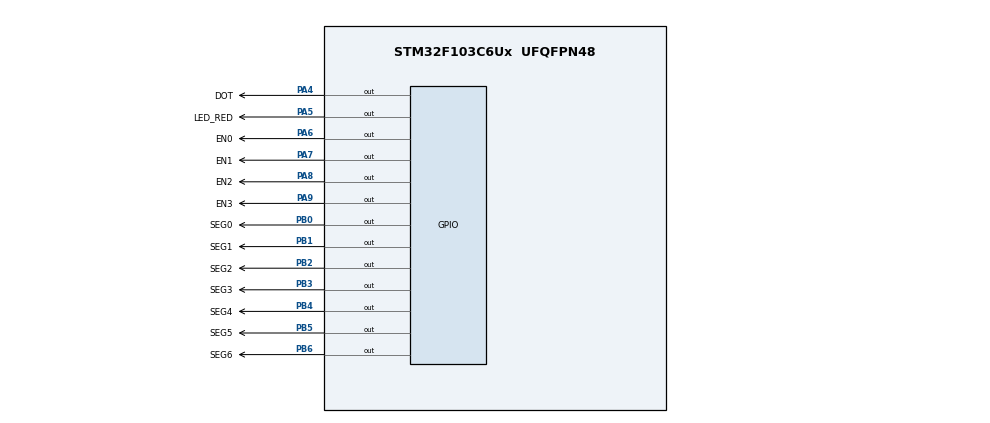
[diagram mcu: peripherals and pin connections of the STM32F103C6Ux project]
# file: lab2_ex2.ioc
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Mcu.Family=STM32F1
Mcu.Name=STM32F103C6Ux
Mcu.Package=UFQFPN48
NVIC.PriorityGroup=NVIC_PRIORITYGROUP_4
NVIC.TIM2_IRQn=true\:0\:0\:false\:false\:true\:true\:true
PA4.GPIO_Label=DOT
PA4.Signal=GPIO_Output
PA5.GPIO_Label=LED_RED
PA5.Signal=GPIO_Output
PA6.GPIO_Label=EN0
PA6.Signal=GPIO_Output
PA7.GPIO_Label=EN1
PA7.Signal=GPIO_Output
PA8.GPIO_Label=EN2
PA8.Signal=GPIO_Output
PA9.GPIO_Label=EN3
PA9.Signal=GPIO_Output
PB0.GPIO_Label=SEG0
PB0.Signal=GPIO_Output
PB1.GPIO_Label=SEG1
PB1.Signal=GPIO_Output
PB2.GPIO_Label=SEG2
PB2.Signal=GPIO_Output
PB3.GPIO_Label=SEG3
PB3.Signal=GPIO_Output
PB4.GPIO_Label=SEG4
PB4.Signal=GPIO_Output
PB5.GPIO_Label=SEG5
PB5.Signal=GPIO_Output
PB6.GPIO_Label=SEG6
PB6.Signal=GPIO_Output
ProjectManager.HeapSize=0x200
ProjectManager.StackSize=0x400
ProjectManager.TargetToolchain=STM32CubeIDE
RCC.APB1Freq_Value=8000000
RCC.APB2Freq_Value=8000000
TIM2.Period=9
TIM2.Prescaler=7999
VP_SYS_VS_ND.Mode=No_Debug
VP_TIM2_VS_ClockSourceINT.Mode=Internal
board=custom

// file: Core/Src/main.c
/* USER CODE BEGIN Header */
/**
  ******************************************************************************
  * @file           : main.c
  * @brief          : Main program body
  ******************************************************************************
  * @attention
  *
  * <h2><center>&copy; Copyright (c) 2023 STMicroelectronics.
  * All rights reserved.</center></h2>
  *
  * This software component is licensed by ST under BSD 3-Clause license,
  * the "License"; You may not use this file except in compliance with the
  * License. You may obtain a copy of the License at:
  *                        opensource.org/licenses/BSD-3-Clause
  *
  ******************************************************************************
  */
/* USER CODE END Header */
#include "main.h"

TIM_HandleTypeDef htim2;

void SystemClock_Config(void);
static void MX_GPIO_Init(void);
static void MX_TIM2_Init(void);

/* USER CODE BEGIN 0 */
// display led 7 segment
void display7SEG(int num){
	  HAL_GPIO_WritePin(SEG0_GPIO_Port, SEG0_Pin, RESET);
	  HAL_GPIO_WritePin(SEG1_GPIO_Port, SEG1_Pin, RESET);
	  HAL_GPIO_WritePin(SEG2_GPIO_Port, SEG2_Pin, RESET);
	  HAL_GPIO_WritePin(SEG3_GPIO_Port, SEG3_Pin, RESET);
	  HAL_GPIO_WritePin(SEG4_GPIO_Port, SEG4_Pin, RESET);
	  HAL_GPIO_WritePin(SEG5_GPIO_Port, SEG5_Pin, RESET);
	  HAL_GPIO_WritePin(SEG6_GPIO_Port, SEG6_Pin, RESET);
	  switch(num){
		  case 0:
			  HAL_GPIO_WritePin(SEG6_GPIO_Port, SEG6_Pin, SET);
			  break;
		  case 1:
			  HAL_GPIO_WritePin(SEG0_GPIO_Port, SEG0_Pin, SET);
			  HAL_GPIO_WritePin(SEG3_GPIO_Port, SEG3_Pin, SET);
			  HAL_GPIO_WritePin(SEG4_GPIO_Port, SEG4_Pin, SET);
			  HAL_GPIO_WritePin(SEG5_GPIO_Port, SEG5_Pin, SET);
			  HAL_GPIO_WritePin(SEG6_GPIO_Port, SEG6_Pin, SET);
			  break;
		  case 2:
			  HAL_GPIO_WritePin(SEG2_GPIO_Port, SEG2_Pin, SET);
			  HAL_GPIO_WritePin(SEG5_GPIO_Port, SEG5_Pin, SET);
			  break;
		  case 3:
			  HAL_GPIO_WritePin(SEG4_GPIO_Port, SEG4_Pin, SET);
			  HAL_GPIO_WritePin(SEG5_GPIO_Port, SEG5_Pin, SET);
			  break;
		  case 4:
			  HAL_GPIO_WritePin(SEG0_GPIO_Port, SEG0_Pin, SET);
			  HAL_GPIO_WritePin(SEG3_GPIO_Port, SEG3_Pin, SET);
			  HAL_GPIO_WritePin(SEG4_GPIO_Port, SEG4_Pin, SET);
			  break;
		  case 5:
			  HAL_GPIO_WritePin(SEG1_GPIO_Port, SEG1_Pin, SET);
			  HAL_GPIO_WritePin(SEG4_GPIO_Port, SEG4_Pin, SET);
			  break;
		  case 6:
			  HAL_GPIO_WritePin(SEG1_GPIO_Port, SEG1_Pin, SET);
			  break;
		  case 7:
			  HAL_GPIO_WritePin(SEG3_GPIO_Port, SEG3_Pin, SET);
			  HAL_GPIO_WritePin(SEG4_GPIO_Port, SEG4_Pin, SET);
			  HAL_GPIO_WritePin(SEG5_GPIO_Port, SEG5_Pin, SET);
			  HAL_GPIO_WritePin(SEG6_GPIO_Port, SEG6_Pin, SET);
			  break;
		  case 8:
			  break;
		  case 9:
			  HAL_GPIO_WritePin(SEG4_GPIO_Port, SEG4_Pin, SET);
			  break;
		  default:
			  break;
	  }
}
/* USER CODE END 0 */

int main(void)
{

  /* MCU Configuration--------------------------------------------------------*/

  /* Reset of all peripherals, Initializes the Flash interface and the Systick. */
  HAL_Init();

  /* Configure the system clock */
  SystemClock_Config();

  /* Initialize all configured peripherals */
  MX_GPIO_Init();
  MX_TIM2_Init();
  /* USER CODE BEGIN 2 */
  HAL_TIM_Base_Start_IT(&htim2);
  /* USER CODE END 2 */

  /* Infinite loop */
  while (1)
  {

  }
}

void SystemClock_Config(void)
{
  RCC_OscInitTypeDef RCC_OscInitStruct = {0};
  RCC_ClkInitTypeDef RCC_ClkInitStruct = {0};

  /** Initializes the RCC Oscillators according to the specified parameters
  * in the RCC_OscInitTypeDef structure.
  */
  RCC_OscInitStruct.OscillatorType = RCC_OSCILLATORTYPE_HSI;
  RCC_OscInitStruct.HSIState = RCC_HSI_ON;
  RCC_OscInitStruct.HSICalibrationValue = RCC_HSICALIBRATION_DEFAULT;
  RCC_OscInitStruct.PLL.PLLState = RCC_PLL_NONE;
  if (HAL_RCC_OscConfig(&RCC_OscInitStruct) != HAL_OK)
  {
    Error_Handler();
  }
  /** Initializes the CPU, AHB and APB buses clocks
  */
  RCC_ClkInitStruct.ClockType = RCC_CLOCKTYPE_HCLK|RCC_CLOCKTYPE_SYSCLK
                              |RCC_CLOCKTYPE_PCLK1|RCC_CLOCKTYPE_PCLK2;
  RCC_ClkInitStruct.SYSCLKSource = RCC_SYSCLKSOURCE_HSI;
  RCC_ClkInitStruct.AHBCLKDivider = RCC_SYSCLK_DIV1;
  RCC_ClkInitStruct.APB1CLKDivider = RCC_HCLK_DIV1;
  RCC_ClkInitStruct.APB2CLKDivider = RCC_HCLK_DIV1;

  if (HAL_RCC_ClockConfig(&RCC_ClkInitStruct, FLASH_LATENCY_0) != HAL_OK)
  {
    Error_Handler();
  }
}

static void MX_TIM2_Init(void)
{

  TIM_ClockConfigTypeDef sClockSourceConfig = {0};
  TIM_MasterConfigTypeDef sMasterConfig = {0};

  htim2.Instance = TIM2;
  htim2.Init.Prescaler = 7999;
  htim2.Init.CounterMode = TIM_COUNTERMODE_UP;
  htim2.Init.Period = 9;
  htim2.Init.ClockDivision = TIM_CLOCKDIVISION_DIV1;
  htim2.Init.AutoReloadPreload = TIM_AUTORELOAD_PRELOAD_DISABLE;
  if (HAL_TIM_Base_Init(&htim2) != HAL_OK)
  {
    Error_Handler();
  }
  sClockSourceConfig.ClockSource = TIM_CLOCKSOURCE_INTERNAL;
  if (HAL_TIM_ConfigClockSource(&htim2, &sClockSourceConfig) != HAL_OK)
  {
    Error_Handler();
  }
  sMasterConfig.MasterOutputTrigger = TIM_TRGO_RESET;
  sMasterConfig.MasterSlaveMode = TIM_MASTERSLAVEMODE_DISABLE;
  if (HAL_TIMEx_MasterConfigSynchronization(&htim2, &sMasterConfig) != HAL_OK)
  {
    Error_Handler();
  }

}

static void MX_GPIO_Init(void)
{
  GPIO_InitTypeDef GPIO_InitStruct = {0};

  /* GPIO Ports Clock Enable */
  __HAL_RCC_GPIOA_CLK_ENABLE();
  __HAL_RCC_GPIOB_CLK_ENABLE();

  /*Configure GPIO pin Output Level */
  HAL_GPIO_WritePin(GPIOA, DOT_Pin|LED_RED_Pin|EN0_Pin|EN1_Pin
                          |EN2_Pin|EN3_Pin, GPIO_PIN_RESET);

  /*Configure GPIO pin Output Level */
  HAL_GPIO_WritePin(GPIOB, SEG0_Pin|SEG1_Pin|SEG2_Pin|SEG3_Pin
                          |SEG4_Pin|SEG5_Pin|SEG6_Pin, GPIO_PIN_RESET);

  /*Configure GPIO pins : DOT_Pin LED_RED_Pin EN0_Pin EN1_Pin
                           EN2_Pin EN3_Pin */
  GPIO_InitStruct.Pin = DOT_Pin|LED_RED_Pin|EN0_Pin|EN1_Pin
                          |EN2_Pin|EN3_Pin;
  GPIO_InitStruct.Mode = GPIO_MODE_OUTPUT_PP;
  GPIO_InitStruct.Pull = GPIO_NOPULL;
  GPIO_InitStruct.Speed = GPIO_SPEED_FREQ_LOW;
  HAL_GPIO_Init(GPIOA, &GPIO_InitStruct);

  /*Configure GPIO pins : SEG0_Pin SEG1_Pin SEG2_Pin SEG3_Pin
                           SEG4_Pin SEG5_Pin SEG6_Pin */
  GPIO_InitStruct.Pin = SEG0_Pin|SEG1_Pin|SEG2_Pin|SEG3_Pin
                          |SEG4_Pin|SEG5_Pin|SEG6_Pin;
  GPIO_InitStruct.Mode = GPIO_MODE_OUTPUT_PP;
  GPIO_InitStruct.Pull = GPIO_NOPULL;
  GPIO_InitStruct.Speed = GPIO_SPEED_FREQ_LOW;
  HAL_GPIO_Init(GPIOB, &GPIO_InitStruct);

}

/* USER CODE BEGIN 4 */
int led_red_counter = 100;
int led7_counter = 50;
int status = 0;
void HAL_TIM_PeriodElapsedCallback(TIM_HandleTypeDef *htim){
	//LED RED AND DOT
	if(led_red_counter > 0){
		led_red_counter--;
		if(led_red_counter <= 0){
			led_red_counter = 100;
			//TODO
			HAL_GPIO_TogglePin(LED_RED_GPIO_Port, LED_RED_Pin);
			HAL_GPIO_TogglePin(DOT_GPIO_Port, DOT_Pin);
		}
	}
	//LED 7 SEGMENT
	if(led7_counter > 0){
		led7_counter--;
		if(led7_counter <= 0){
			led7_counter = 50;
			//TODO
			switch(status){
				case 0:
					HAL_GPIO_WritePin(EN0_GPIO_Port, EN0_Pin, 0);
					HAL_GPIO_WritePin(EN1_GPIO_Port, EN1_Pin, 1);
					HAL_GPIO_WritePin(EN2_GPIO_Port, EN2_Pin, 1);
					HAL_GPIO_WritePin(EN3_GPIO_Port, EN3_Pin, 1);
					display7SEG(1);
					status = 1;
					break;
				case 1:
					HAL_GPIO_WritePin(EN0_GPIO_Port, EN0_Pin, 1);
					HAL_GPIO_WritePin(EN1_GPIO_Port, EN1_Pin, 0);
					HAL_GPIO_WritePin(EN2_GPIO_Port, EN2_Pin, 1);
					HAL_GPIO_WritePin(EN3_GPIO_Port, EN3_Pin, 1);
					display7SEG(2);
					status = 2;
					break;
				case 2:
					HAL_GPIO_WritePin(EN0_GPIO_Port, EN0_Pin, 1);
					HAL_GPIO_WritePin(EN1_GPIO_Port, EN1_Pin, 1);
					HAL_GPIO_WritePin(EN2_GPIO_Port, EN2_Pin, 0);
					HAL_GPIO_WritePin(EN3_GPIO_Port, EN3_Pin, 1);
					display7SEG(3);
					status = 3;
					break;
				case 3:
					HAL_GPIO_WritePin(EN0_GPIO_Port, EN0_Pin, 1);
					HAL_GPIO_WritePin(EN1_GPIO_Port, EN1_Pin, 1);
					HAL_GPIO_WritePin(EN2_GPIO_Port, EN2_Pin, 1);
					HAL_GPIO_WritePin(EN3_GPIO_Port, EN3_Pin, 0);
					display7SEG(0);
					status = 0;
					break;
				default:
					break;
			}
		}
	}
}
/* USER CODE END 4 */

void Error_Handler(void)
{
  __disable_irq();
  while (1)
  {
  }
}

/************************ (C) COPYRIGHT STMicroelectronics *****END OF FILE****/
